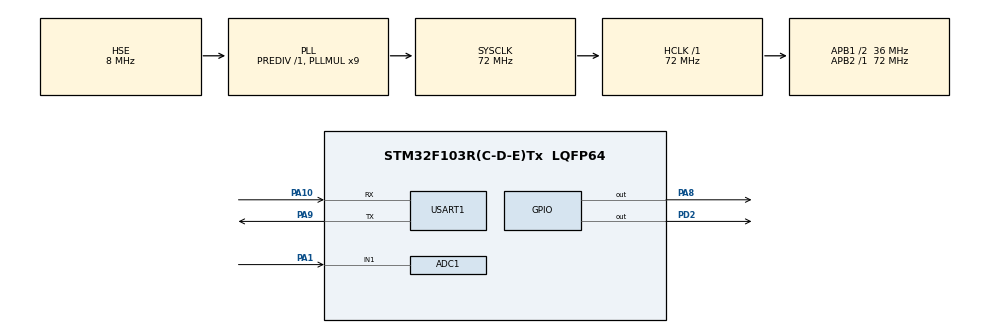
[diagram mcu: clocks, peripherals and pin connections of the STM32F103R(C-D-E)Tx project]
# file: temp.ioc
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ADC1.Channel-0\#ChannelRegularConversion=ADC_CHANNEL_1
ADC1.InjNumberOfConversion=0
ADC1.NbrOfConversionFlag=1
ADC1.Rank-0\#ChannelRegularConversion=1
ADC1.SamplingTime-0\#ChannelRegularConversion=ADC_SAMPLETIME_239CYCLES_5
ADC1.master=1
Mcu.Family=STM32F1
Mcu.Name=STM32F103R(C-D-E)Tx
Mcu.Package=LQFP64
NVIC.PriorityGroup=NVIC_PRIORITYGROUP_4
PA1.Signal=ADCx_IN1
PA10.Mode=Asynchronous
PA10.Signal=USART1_RX
PA13.Mode=Trace_Asynchronous_SW
PA13.Signal=SYS_JTMS-SWDIO
PA14.Mode=Trace_Asynchronous_SW
PA14.Signal=SYS_JTCK-SWCLK
PA8.GPIO_PuPd=GPIO_NOPULL
PA8.GPIO_Speed=GPIO_SPEED_FREQ_HIGH
PA8.PinState=GPIO_PIN_SET
PA8.Signal=GPIO_Output
PA9.Mode=Asynchronous
PA9.Signal=USART1_TX
PB3.Mode=Trace_Asynchronous_SW
PB3.Signal=SYS_JTDO-TRACESWO
PD0-OSC_IN.Mode=HSE-External-Oscillator
PD0-OSC_IN.Signal=RCC_OSC_IN
PD1-OSC_OUT.Mode=HSE-External-Oscillator
PD1-OSC_OUT.Signal=RCC_OSC_OUT
PD2.GPIO_PuPd=GPIO_NOPULL
PD2.GPIO_Speed=GPIO_SPEED_FREQ_HIGH
PD2.PinState=GPIO_PIN_SET
PD2.Signal=GPIO_Output
ProjectManager.HeapSize=0x200
ProjectManager.StackSize=0x400
ProjectManager.TargetToolchain=MDK-ARM V5
RCC.ADCPresc=RCC_ADCPCLK2_DIV6
RCC.AHBFreq_Value=72000000
RCC.APB1CLKDivider=RCC_HCLK_DIV2
RCC.APB1Freq_Value=36000000
RCC.APB1TimFreq_Value=72000000
RCC.APB2Freq_Value=72000000
RCC.APB2TimFreq_Value=72000000
RCC.HCLKFreq_Value=72000000
RCC.PLLMUL=RCC_PLL_MUL9
RCC.PLLSourceVirtual=RCC_PLLSOURCE_HSE
RCC.SYSCLKFreq_VALUE=72000000
RCC.SYSCLKSource=RCC_SYSCLKSOURCE_PLLCLK
RCC.TimSys_Div=SYSTICK_CLKSOURCE_HCLK_DIV8
RCC.USBFreq_Value=72000000
SH.ADCx_IN1.0=ADC1_IN1,IN1
USART1.VirtualMode=VM_ASYNC
board=custom

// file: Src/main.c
/* USER CODE BEGIN Header */
/**
  ******************************************************************************
  * @file           : main.c
  * @brief          : Main program body
  ******************************************************************************
  * @attention
  *
  * <h2><center>&copy; Copyright (c) 2019 STMicroelectronics.
  * All rights reserved.</center></h2>
  *
  * This software component is licensed by ST under BSD 3-Clause license,
  * the "License"; You may not use this file except in compliance with the
  * License. You may obtain a copy of the License at:
  *                        opensource.org/licenses/BSD-3-Clause
  *
  ******************************************************************************
  */
/* USER CODE END Header */

#include "main.h"
#include "adc.h"
#include "usart.h"
#include "gpio.h"

/* USER CODE BEGIN Includes */
#include "delay.h"
#include "stdio.h"
/* USER CODE END Includes */

void SystemClock_Config(void);

int main(void)
{
  /* USER CODE BEGIN 1 */
	uint16_t adcx;
	uint16_t adcv;
  uint8_t buffer[4];
	float temp;
	uint8_t adcy[1];
	//uint8_t k = 0XFF;
  /* USER CODE END 1 */

  /* MCU Configuration--------------------------------------------------------*/

  /* Reset of all peripherals, Initializes the Flash interface and the Systick. */
  HAL_Init();

  /* Configure the system clock */
  SystemClock_Config();

  /* Initialize all configured peripherals */
  MX_GPIO_Init();
  MX_USART1_UART_Init();
  MX_ADC1_Init();
  /* USER CODE BEGIN 2 */
	delay_init();
	LED0_ON();
  /* USER CODE END 2 */

  /* Infinite loop */
  while (1)
  {

    /* USER CODE BEGIN 3 */
		adcx = Get_Adc_Average(20);
		//adcy[0] = (uint8_t)(adcx>>8);
		//adcy[1] = (uint8_t)(adcx&0xFF);
		//sprintf(buffer,"%s",adcy);
		//adcx = 0XFD2;
		//adcy[0] = adcx;
		temp = (float)adcx*(3.3/4096);//4096是因为ADC是12位的
		adcv = temp;
		temp -= adcv;
		temp *= 1000;
		//printf("adc_val is %d\n",adcx);
		//adcy[0] = temp;
		//printf("adc_val is %f\n",temp);
//		HAL_UART_Transmit(&huart1, (uint8_t *)adcy, 12, 1000);
//		while(__HAL_UART_GET_FLAG(&huart1,UART_FLAG_TC)!=SET);
		HMI_SendNum(&huart1,"n0.val=",7,adcx,4);
		//printf("adc_val is %d\n",adcx);
	  HMI_SendNum(&huart1,"n1.val=",7,(int)adcv,1);
	  HMI_SendNum(&huart1,"n2.val=",7,((int)temp)/100,1);
	  HMI_SendNum(&huart1,"n3.val=",7,(((int)temp)/10)%10,1);
	  HMI_SendNum(&huart1,"n4.val=",7,((int)temp)%10,1);
		//HMI_SendNum(&huart1,"t2.txt=",7,"\"测试\"",6);
		HMI_SendText(&huart1,"t2.txt=",7,"此处用以文本测试",16);
		HAL_GPIO_TogglePin(GPIOA, GPIO_PIN_8);
		HAL_GPIO_TogglePin(GPIOD, GPIO_PIN_2);
		//delay_ms(1000);
		delay_us(500000);
  }
  /* USER CODE END 3 */
}

void SystemClock_Config(void)
{
  RCC_OscInitTypeDef RCC_OscInitStruct = {0};
  RCC_ClkInitTypeDef RCC_ClkInitStruct = {0};
  RCC_PeriphCLKInitTypeDef PeriphClkInit = {0};

  /** Initializes the CPU, AHB and APB busses clocks
  */
  RCC_OscInitStruct.OscillatorType = RCC_OSCILLATORTYPE_HSE;
  RCC_OscInitStruct.HSEState = RCC_HSE_ON;
  RCC_OscInitStruct.HSEPredivValue = RCC_HSE_PREDIV_DIV1;
  RCC_OscInitStruct.HSIState = RCC_HSI_ON;
  RCC_OscInitStruct.PLL.PLLState = RCC_PLL_ON;
  RCC_OscInitStruct.PLL.PLLSource = RCC_PLLSOURCE_HSE;
  RCC_OscInitStruct.PLL.PLLMUL = RCC_PLL_MUL9;
  if (HAL_RCC_OscConfig(&RCC_OscInitStruct) != HAL_OK)
  {
    Error_Handler();
  }
  /** Initializes the CPU, AHB and APB busses clocks
  */
  RCC_ClkInitStruct.ClockType = RCC_CLOCKTYPE_HCLK|RCC_CLOCKTYPE_SYSCLK
                              |RCC_CLOCKTYPE_PCLK1|RCC_CLOCKTYPE_PCLK2;
  RCC_ClkInitStruct.SYSCLKSource = RCC_SYSCLKSOURCE_PLLCLK;
  RCC_ClkInitStruct.AHBCLKDivider = RCC_SYSCLK_DIV1;
  RCC_ClkInitStruct.APB1CLKDivider = RCC_HCLK_DIV2;
  RCC_ClkInitStruct.APB2CLKDivider = RCC_HCLK_DIV1;

  if (HAL_RCC_ClockConfig(&RCC_ClkInitStruct, FLASH_LATENCY_2) != HAL_OK)
  {
    Error_Handler();
  }
  PeriphClkInit.PeriphClockSelection = RCC_PERIPHCLK_ADC;
  PeriphClkInit.AdcClockSelection = RCC_ADCPCLK2_DIV6;
  if (HAL_RCCEx_PeriphCLKConfig(&PeriphClkInit) != HAL_OK)
  {
    Error_Handler();
  }
}

void Error_Handler(void)
{
}

/************************ (C) COPYRIGHT STMicroelectronics *****END OF FILE****/
